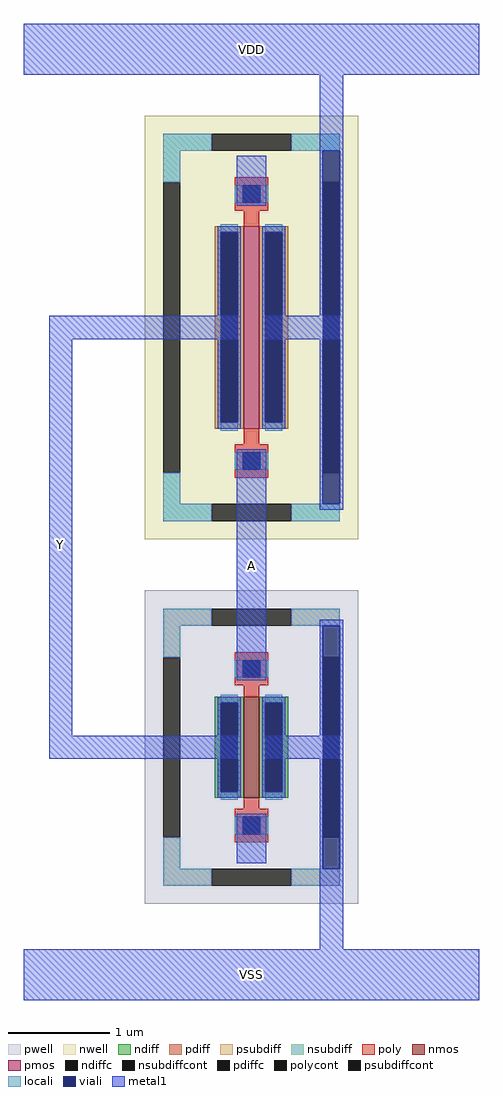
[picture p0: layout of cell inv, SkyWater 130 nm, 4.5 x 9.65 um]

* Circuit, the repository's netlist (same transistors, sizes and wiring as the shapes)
* CMOS inverter — Phase 0 smoke-test cell
* Also the LVS reference netlist for mag/smoke/inv.mag
.subckt inv A Y VDD VSS
XMP Y A VDD VDD sky130_fd_pr__pfet_01v8 W=2 L=0.15 nf=1
XMN Y A VSS VSS sky130_fd_pr__nfet_01v8 W=1 L=0.15 nf=1
.ends inv

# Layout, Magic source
magic
tech sky130A
magscale 1 2
<< metal1 >>
rect -450 1330 450 1430
rect 135 1179 181 1330
rect -29 1071 29 1169
rect -400 807 -21 853
rect 21 807 181 853
rect -400 23 -354 807
rect -29 132 29 589
rect -400 -23 -21 23
rect 21 -23 181 23
rect -29 -230 29 -132
rect 135 -400 181 -240
rect -450 -500 450 -400
use sky130_fd_pr__nfet_01v8_89CNAM  xn
transform 1 0 0 0 1 0
box -211 -310 211 310
use sky130_fd_pr__pfet_01v8_X8GLGQ  xp
transform 1 0 0 0 1 830
box -211 -419 211 419
<< labels >>
rlabel metal1 0 360 0 360 0 A
port 1 nsew signal bidirectional
rlabel metal1 -377 400 -377 400 0 Y
port 2 nsew signal bidirectional
rlabel metal1 0 1380 0 1380 0 VDD
port 3 nsew power bidirectional
rlabel metal1 0 -450 0 -450 0 VSS
port 4 nsew ground bidirectional
<< end >>

# cell sky130_fd_pr__nfet_01v8_89CNAM: kit device sky130_fd_pr__nfet_01v8, w 1 l 0.15 m 1 nf 1 diffcov 100 polycov 100 guard 1 glc 1 grc 1 gtc 1 gbc 1 tbcov 100 rlcov 100 topc 1 botc 1 poverlap 0 doverlap 1 lmin 0.15 wmin 0.42 class mosfet compatible {sky130_fd_pr__nfet_01v8 sky130_fd_pr__nfet_01v8_lvt sky130_fd_bs_flash__special_sonosfet_star sky130_fd_pr__nfet_g5v0d10v5 sky130_fd_pr__nfet_05v0_nvt sky130_fd_pr__nfet_03v3_nvt} full_metal 1 conn_gates 0 viasrc 100 viadrn 100 viagate 100 viagb 0 viagr 100 viagl 0 viagt 0 doports 1

# cell sky130_fd_pr__pfet_01v8_X8GLGQ: kit device sky130_fd_pr__pfet_01v8, w 2 l 0.15 m 1 nf 1 diffcov 100 polycov 100 guard 1 glc 1 grc 1 gtc 1 gbc 1 tbcov 100 rlcov 100 topc 1 botc 1 poverlap 0 doverlap 1 lmin 0.15 wmin 0.42 class mosfet compatible {sky130_fd_pr__pfet_01v8 sky130_fd_pr__pfet_01v8_lvt sky130_fd_pr__pfet_01v8_hvt sky130_fd_pr__pfet_g5v0d10v5} full_metal 1 conn_gates 0 viasrc 100 viadrn 100 viagate 100 viagb 0 viagr 100 viagl 0 viagt 0 doports 1
